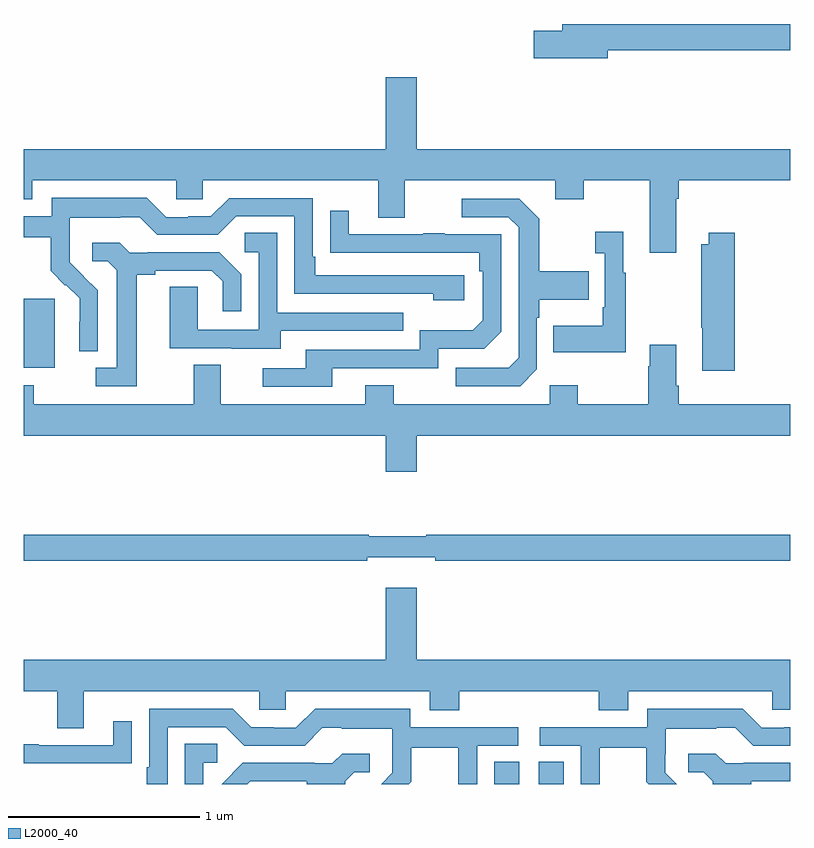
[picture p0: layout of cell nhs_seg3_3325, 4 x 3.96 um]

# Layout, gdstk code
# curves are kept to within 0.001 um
import gdstk
lib = gdstk.Library(unit=1e-6, precision=1e-09)
def R(c, l, rs):  # rectangles x0, y0, x1, y1
    for r in rs: c.add(gdstk.rectangle(r[:2], r[2:], *l))
def P(c, l, *ps):  # polygons
    for p in ps: c.add(gdstk.Polygon(p, *l))
L2000_40 = (2000, 40)

nhs_seg3_3325 = lib.new_cell('nhs_seg3_3325')
R(nhs_seg3_3325, L2000_40, [(285.455,732.4,285.586,732.515), (285.686,732.4,285.817,732.515), (283,734.57,283.162,734.931)])
P(nhs_seg3_3325, L2000_40, [(286.048,736.228),(287,736.228),(287,736.364),(285.809,736.364),(285.809,736.328),(285.66,736.328),(285.66,736.186),(286.048,736.186)],
  [(286.405,735.452),(286.418,735.452),(286.418,735.548),(287,735.548),(287,735.712),(285.052,735.712),(285.052,736.087),(284.888,736.087),(284.888,735.712),(283,735.712),(283,735.449),(283.045,735.449),(283.045,735.548),(283.797,735.548),(283.797,735.45),(283.935,735.45),(283.935,735.548),(284.849,735.548),(284.849,735.354),(284.989,735.354),(284.989,735.548),(285.773,735.548),(285.773,735.449),(285.921,735.449),(285.921,735.548),(286.265,735.548),(286.265,735.171),(286.405,735.171)],
  [(283.386,734.974),(283.24,735.122),(283.24,735.219),(283.242,735.219),(283.242,735.353),(283.505,735.353),(283.505,735.357),(283.605,735.357),(283.698,735.264),(284.013,735.264),(284.109,735.36),(284.412,735.36),(284.412,734.958),(285.137,734.958),(285.137,734.924),(285.298,734.924),(285.298,735.054),(284.521,735.054),(284.521,735.151),(284.508,735.151),(284.508,735.456),(284.073,735.456),(283.977,735.36),(283.859,735.36),(283.859,735.357),(283.743,735.357),(283.643,735.457),(283.146,735.457),(283.146,735.36),(283,735.36),(283,735.252),(283.141,735.252),(283.141,735.077),(283.218,735),(283.221,735.003),(283.292,734.933),(283.292,734.81),(283.29,734.81),(283.29,734.656),(283.386,734.656)],
  [(285.678,734.562),(285.678,734.831),(285.691,734.831),(285.691,734.927),(285.947,734.927),(285.947,735.075),(285.691,735.075),(285.691,735.347),(285.585,735.453),(285.285,735.453),(285.285,735.357),(285.528,735.357),(285.582,735.303),(285.582,734.622),(285.531,734.571),(285.255,734.571),(285.255,734.475),(285.591,734.475)],
  [(284.611,734.568),(285.162,734.568),(285.162,734.67),(285.402,734.67),(285.492,734.76),(285.492,735.267),(285.197,735.267),(285.197,735.272),(285.085,735.272),(285.085,735.267),(284.695,735.267),(284.695,735.391),(284.599,735.391),(284.599,735.172),(285.376,735.171),(285.376,735.074),(285.396,735.074),(285.396,734.82),(285.343,734.767),(285.066,734.767),(285.066,734.664),(284.471,734.664),(284.471,734.568),(284.247,734.568),(284.247,734.472),(284.611,734.472)],
  [(286.141,735.067),(286.129,735.067),(286.129,735.28),(285.981,735.28),(285.981,735.167),(286.032,735.167),(286.032,734.887),(286.02,734.887),(286.02,734.791),(285.763,734.791),(285.763,734.651),(286.141,734.651)],
  [(284.341,734.763),(284.981,734.763),(284.981,734.859),(284.322,734.859),(284.322,735.275),(284.154,735.275),(284.154,735.174),(284.226,735.174),(284.226,734.769),(283.908,734.769),(283.908,734.993),(283.763,734.993),(283.763,734.673),(284.087,734.673),(284.087,734.669),(284.341,734.669)],
  [(286.709,735.274),(286.574,735.274),(286.574,735.214),(286.534,735.214),(286.534,734.779),(286.541,734.779),(286.541,734.556),(286.709,734.556)],
  [(283.591,735.056),(283.687,735.056),(283.687,735.078),(283.982,735.078),(284.039,735.021),(284.039,734.865),(284.136,734.865),(284.136,735.058),(284.02,735.174),(283.648,735.174),(283.648,735.171),(283.554,735.171),(283.502,735.223),(283.359,735.223),(283.359,735.126),(283.44,735.126),(283.487,735.079),(283.487,734.571),(283.377,734.571),(283.377,734.475),(283.591,734.475)],
  [(285.052,734.216),(287,734.216),(287,734.38),(286.418,734.38),(286.418,734.476),(286.405,734.476),(286.405,734.692),(286.265,734.692),(286.265,734.579),(286.258,734.579),(286.258,734.38),(285.891,734.38),(285.891,734.479),(285.744,734.479),(285.744,734.38),(284.931,734.38),(284.931,734.479),(284.783,734.479),(284.783,734.38),(284.029,734.38),(284.029,734.588),(283.889,734.588),(283.889,734.38),(283.053,734.38),(283.053,734.479),(283,734.479),(283,734.216),(284.888,734.216),(284.888,734.028),(285.052,734.028)],
  [(284.792,733.583),(285.148,733.583),(285.148,733.564),(287,733.564),(287,733.7),(285.1,733.7),(285.1,733.693),(284.8,733.693),(284.8,733.7),(283,733.7),(283,733.564),(284.792,733.564)],
  [(283.315,732.884),(284.229,732.884),(284.229,732.786),(284.367,732.786),(284.367,732.884),(285.119,732.884),(285.119,732.785),(285.272,732.785),(285.272,732.884),(286.001,732.884),(286.001,732.785),(286.153,732.785),(286.153,732.884),(286.905,732.884),(286.905,732.786),(287,732.786),(287,733.048),(285.052,733.048),(285.052,733.423),(284.888,733.423),(284.888,733.048),(283,733.048),(283,732.884),(283.175,732.884),(283.175,732.69),(283.315,732.69)],
  [(286.005,732.588),(286.249,732.588),(286.249,732.413),(286.262,732.4),(286.406,732.4),(286.348,732.458),(286.348,732.555),(286.35,732.555),(286.35,732.689),(286.613,732.689),(286.613,732.693),(286.713,732.693),(286.806,732.6),(287,732.6),(287,732.696),(286.967,732.696),(286.967,732.693),(286.851,732.693),(286.751,732.793),(286.254,732.793),(286.254,732.696),(285.693,732.696),(285.693,732.6),(285.906,732.6),(285.906,732.4),(286.005,732.4)],
  [(283.752,732.696),(284.055,732.696),(284.151,732.6),(284.466,732.6),(284.559,732.693),(284.659,732.693),(284.659,732.689),(284.922,732.689),(284.922,732.555),(284.924,732.555),(284.924,732.458),(284.866,732.4),(285.01,732.4),(285.023,732.413),(285.023,732.588),(285.268,732.588),(285.268,732.4),(285.366,732.4),(285.366,732.6),(285.58,732.6),(285.58,732.696),(285.018,732.696),(285.018,732.793),(284.521,732.793),(284.421,732.693),(284.306,732.693),(284.306,732.696),(284.187,732.696),(284.091,732.792),(283.656,732.792),(283.656,732.487),(283.643,732.487),(283.643,732.4),(283.752,732.4)],
  [(283.463,732.508),(283.565,732.508),(283.565,732.727),(283.469,732.727),(283.469,732.603),(283.079,732.603),(283.079,732.608),(283,732.608),(283,732.507),(283.463,732.507)],
  [(283.938,732.51),(284.011,732.51),(284.011,732.611),(283.842,732.611),(283.842,732.4),(283.938,732.4)],
  [(284.182,732.414),(284.477,732.414),(284.477,732.4),(284.677,732.4),(284.677,732.415),(284.724,732.462),(284.806,732.462),(284.806,732.559),(284.662,732.559),(284.61,732.507),(284.516,732.507),(284.516,732.51),(284.144,732.51),(284.034,732.4),(284.168,732.4)],
  [(286.795,732.414),(287,732.414),(287,732.51),(286.756,732.51),(286.756,732.507),(286.662,732.507),(286.61,732.559),(286.467,732.559),(286.467,732.462),(286.548,732.462),(286.595,732.415),(286.595,732.4),(286.795,732.4)])

lib.write_gds('nhs_seg3_3325.gds')
